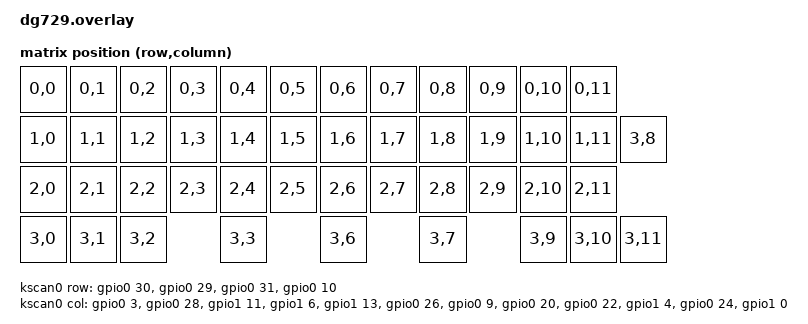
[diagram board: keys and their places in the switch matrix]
#include <dt-bindings/led/led.h>
#include <dt-bindings/zmk/matrix_transform.h>

#define EC11_ENCODER_PIN_A <&gpio0 17 (GPIO_ACTIVE_HIGH | GPIO_PULL_UP)>
#define EC11_ENCODER_PIN_B <&gpio0 15 (GPIO_ACTIVE_HIGH | GPIO_PULL_UP)>

#define WS2812_RGB_UNDERGLOW_PIN <NRF_PSEL(SPIM_MOSI, 0, 5)>
#define WS2812_RGB_UNDERGLOW_LEDS 5

#define MOUSE_PS2_DRIVER_UART
#define MOUSE_PS2_PIN_SCL_PRO_MICRO <&gpio0 13 GPIO_ACTIVE_HIGH>
#define MOUSE_PS2_PIN_SDA_PRO_MICRO <&gpio0 7  GPIO_ACTIVE_HIGH>
// #define MOUSE_PS2_PIN_RST_PRO_MICRO <&gpio0 14 GPIO_ACTIVE_HIGH>

#define MOUSE_PS2_PIN_SDA_PINCTRL  <NRF_PSEL(UART_RX, 0, 7)>
#define MOUSE_PS2_PIN_UNEXPOSED_TX <NRF_PSEL(UART_TX, 0, 27)>
#define MOUSE_PS2_PIN_UNEXPOSED_RX <NRF_PSEL(UART_RX, 0, 25)>
#define MOUSE_PS2_UART_BAUD_RATE <14400>

/ {
  chosen {
    zmk,kscan = &kscan0;
    zmk,matrix-transform = &default_transform;
    zmk,underglow = &led_strip;
  };

  kscan0: kscan {
    compatible = "zmk,kscan-gpio-matrix";
    wakeup-source;
    diode-direction = "col2row";
    row-gpios
      = <&gpio0 30 (GPIO_ACTIVE_HIGH | GPIO_PULL_DOWN)>
      , <&gpio0 29 (GPIO_ACTIVE_HIGH | GPIO_PULL_DOWN)>
      , <&gpio0 31 (GPIO_ACTIVE_HIGH | GPIO_PULL_DOWN)>
      , <&gpio0 10 (GPIO_ACTIVE_HIGH | GPIO_PULL_DOWN)>
      ;
    col-gpios
      = <&gpio0 3  GPIO_ACTIVE_HIGH>
      , <&gpio0 28 GPIO_ACTIVE_HIGH>
      , <&gpio1 11 GPIO_ACTIVE_HIGH>
      , <&gpio1 6  GPIO_ACTIVE_HIGH>
      , <&gpio1 13 GPIO_ACTIVE_HIGH>
      , <&gpio0 26 GPIO_ACTIVE_HIGH>
      , <&gpio0 9  GPIO_ACTIVE_HIGH>
      , <&gpio0 20 GPIO_ACTIVE_HIGH>
      , <&gpio0 22 GPIO_ACTIVE_HIGH>
      , <&gpio1 4  GPIO_ACTIVE_HIGH>
      , <&gpio0 24 GPIO_ACTIVE_HIGH>
      , <&gpio1 0  GPIO_ACTIVE_HIGH>
      ;
  };

  default_transform: keymap_transform_0 {
    compatible = "zmk,matrix-transform";
    columns = <12>;
    rows = <4>;
    map = <
      RC(0,0) RC(0,1) RC(0,2) RC(0,3) RC(0,4) RC(0,5) RC(0,6) RC(0,7) RC(0,8) RC(0,9) RC(0,10) RC(0,11)
      RC(1,0) RC(1,1) RC(1,2) RC(1,3) RC(1,4) RC(1,5) RC(1,6) RC(1,7) RC(1,8) RC(1,9) RC(1,10) RC(1,11) RC(3,8)
      RC(2,0) RC(2,1) RC(2,2) RC(2,3) RC(2,4) RC(2,5) RC(2,6) RC(2,7) RC(2,8) RC(2,9) RC(2,10) RC(2,11)
      RC(3,0) RC(3,1) RC(3,2)         RC(3,3)         RC(3,6)         RC(3,7)         RC(3,9)  RC(3,10) RC(3,11)
    >;
  };

  single_encoder: single_encoder {
    compatible = "alps,ec11";
    status = "okay";
    a-gpios = EC11_ENCODER_PIN_A;
    b-gpios = EC11_ENCODER_PIN_B;
    steps = <80>;
  };

  sensors: sensors {
    compatible = "zmk,keymap-sensors";
    status = "okay";
    sensors = <&single_encoder>;
    triggers-per-rotation = <20>;
  };
};

&pinctrl {
  spi3_default: spi3_default {
    group1 {
      psels = WS2812_RGB_UNDERGLOW_PIN;
    };
  };

  spi3_sleep: spi3_sleep {
    group1 {
      psels = WS2812_RGB_UNDERGLOW_PIN;
      low-power-enable;
    };
  };
};

&spi3 {
  compatible = "nordic,nrf-spim";
  status = "okay";
  pinctrl-0 = <&spi3_default>;
  pinctrl-1 = <&spi3_sleep>;
  pinctrl-names = "default", "sleep";

  led_strip: ws2812@0 {
    compatible = "worldsemi,ws2812-spi";
    /* SPI */
    reg = <0>; /* ignored, but necessary for SPI bindings */
    spi-max-frequency = <4000000>;
    /* WS2812 */
    chain-length = <WS2812_RGB_UNDERGLOW_LEDS>; /* arbitrary; change at will */
    spi-one-frame = <0x70>;
    spi-zero-frame = <0x40>;
    color-mapping = <LED_COLOR_ID_GREEN LED_COLOR_ID_RED LED_COLOR_ID_BLUE>;
  };
};

&gpiote {
  interrupts = < 6 0 >;
};

&clock {
  interrupts = < 0 3 >;
};

&power {
  interrupts = < 0 3 >;
};

&radio {
  interrupts = < 1 3 >;
};

&uart0 {
  interrupts = < 2 3 >;
};

&i2c0 {
  interrupts = < 3 3 >;
};

&spi0 {
  interrupts = < 3 3 >;
};

&i2c1 {
  interrupts = < 4 3 >;
};

&spi1 {
  interrupts = < 4 3 >;
};

&nfct {
  interrupts = < 5 3 >;
};

&adc {
  interrupts = < 7 3 >;
};

&timer0 {
  interrupts = < 8 3 >;
};

&timer1 {
  interrupts = < 9 3 >;
};

&timer2 {
  interrupts = < 10 3 >;
};

&rtc0 {
  interrupts = < 11 3 >;
};

&temp {
  interrupts = < 12 3 >;
};

&rng {
  interrupts = < 13 3 >;
};

&ecb {
  interrupts = < 14 3 >;
};

&ccm {
  interrupts = < 15 3 >;
};

&wdt {
  interrupts = < 16 3 >;
};

&rtc1 {
  interrupts = < 17 3 >;
};

&qdec {
  interrupts = < 18 3 >;
};

&comp {
  interrupts = < 19 3 >;
};

&egu0 {
  interrupts = < 20 3 >;
};

&egu1 {
  interrupts = < 21 3 >;
};

&egu2 {
  interrupts = < 22 3 >;
};

&egu3 {
  interrupts = < 23 3 >;
};

&egu4 {
  interrupts = < 24 3 >;
};

&egu5 {
  interrupts = < 25 3 >;
};

&timer3 {
  interrupts = < 26 3 >;
};

&timer4 {
  interrupts = < 27 3 >;
};

&pwm0 {
  interrupts = < 28 3 >;
};

&pdm0 {
  interrupts = < 29 3 >;
};

&pwm1 {
  interrupts = < 33 3 >;
};

&pwm2 {
  interrupts = < 34 3 >;
};

&spi2 {
  interrupts = < 35 3 >;
};

&rtc2 {
  interrupts = < 36 3 >;
};

&i2s0 {
  interrupts = < 37 3 >;
};

&usbd {
  interrupts = < 39 3 >;
};

&uart1 {
  interrupts = < 40 3 >;
};

&qspi {
  interrupts = < 41 3 >;
};

&pwm3 {
  interrupts = < 45 3 >;
};

&spi3 {
  interrupts = < 47 3 >;
};

&cryptocell {
  interrupts = < 42 3 >;
};


&pinctrl {
  uart0_ps2_default: uart0_ps2_default {
    group1 {
      psels = MOUSE_PS2_PIN_UNEXPOSED_TX, MOUSE_PS2_PIN_SDA_PINCTRL;
   };
  };

  uart0_ps2_sleep: uart0_ps2_sleep {
    group1 {
      psels = MOUSE_PS2_PIN_UNEXPOSED_TX, MOUSE_PS2_PIN_SDA_PINCTRL;
      low-power-enable;
    };
  };

  uart0_ps2_off: uart0_ps2_off {
    group1 {
      psels = MOUSE_PS2_PIN_UNEXPOSED_TX, MOUSE_PS2_PIN_UNEXPOSED_RX;
    };
  };
};

#ifdef MOUSE_PS2_DRIVER_UART

&uart0 {
  status = "disabled";
  compatible = "nordic,nrf-uarte";

  current-speed = MOUSE_PS2_UART_BAUD_RATE;
  pinctrl-0 = <&uart0_ps2_default>;
  pinctrl-1 = <&uart0_ps2_off>;

  pinctrl-names = "default", "sleep";

  uart_ps2: uart_ps2 {
    status = "disabled";
    compatible = "uart-ps2";
    scl-gpios = MOUSE_PS2_PIN_SCL_PRO_MICRO;
    sda-gpios = MOUSE_PS2_PIN_SDA_PRO_MICRO;
  };
};

#else

/ {
  gpio_ps2: gpio_ps2 {
    status = "disabled";
    compatible = "gpio-ps2";
    scl-gpios = MOUSE_PS2_PIN_SCL_PRO_MICRO;
    sda-gpios = MOUSE_PS2_PIN_SDA_PRO_MICRO;
  };
};

#endif

/ {
  mouse_ps2: mouse_ps2 {
    status = "disabled";
    compatible = "zmk,input-mouse-ps2";
#ifdef MOUSE_PS2_DRIVER_UART
    ps2-device = <&uart_ps2>;
#else
    ps2-device = <&gpio_ps2>;
#endif
#ifdef MOUSE_PS2_PIN_RST_PRO_MICRO
    rst-gpios = MOUSE_PS2_PIN_RST_PRO_MICRO;
#endif
  };

  mouse_ps2_input_listener: mouse_ps2_input_listener {
    status = "disabled";
    compatible = "zmk,input-listener-ps2";
    device = <&mouse_ps2>;
    // Some of the available settings depend on the keymap. So they
    // are adjusted in...
    // zmk-config/config/includes/trackpoint.dtsi
  };
};
